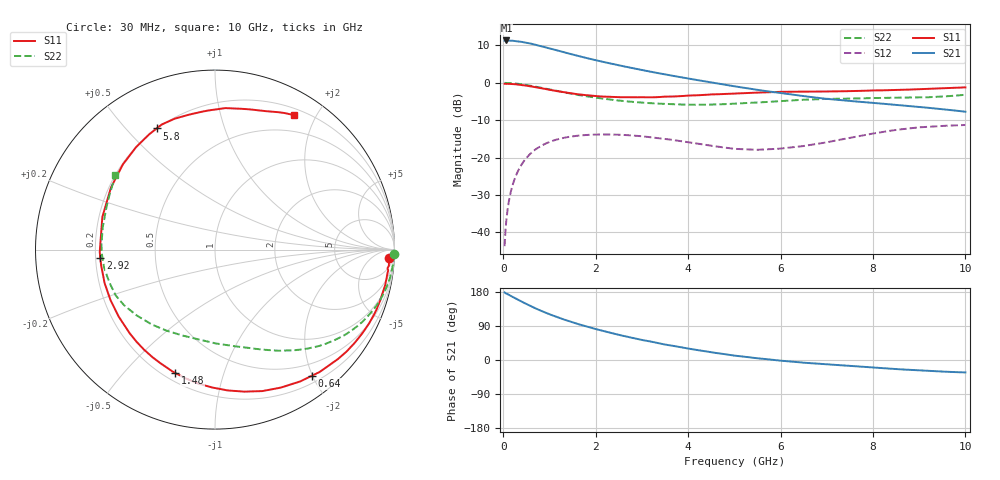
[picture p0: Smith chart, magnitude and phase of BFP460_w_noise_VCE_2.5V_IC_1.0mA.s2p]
! (c) 2016  Infineon Technologies AG, Munich
! Infineon Technologies  Discrete & RF Semiconductors
! BFP460
! VCE =  2.5 V,  IC =  1.0 mA
! Common Emitter S-Parameters:  Jan 2016
# GHz  S  MA  R  50
!  f  S11  S21  S12  S22
! GHz  MAG  ANG  MAG  ANG  MAG  ANG  MAG  ANG
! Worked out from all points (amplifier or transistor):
!   229 points, 30 MHz to 10 GHz, reference 50 ohm
!   highest |S21| = 11.3 dB at 70 MHz (marker M1)
!   |S21| within 3 dB of that: start of sweep to 1.269 GHz
!   unconditionally stable (mu >= 1): 4.358 GHz to 7.988 GHz; 8.166663 GHz to 8.205964 GHz
!   at 280 MHz: K = 0.07, MSG = 17.9 dB, |S12| = -24.7 dB
!   at 1.78 GHz: K = 0.41, MSG = 10.3 dB, |S12| = -14.0 dB
!   at 10 GHz: K = 0.97, MSG = 1.8 dB, |S12| = -11.3 dB
!   lowest NFmin = 0.69 dB at 450 MHz
!   S11 on the Smith chart (normalised r, x): 30 MHz: 20, -32; 640 MHz: 0.30, -1.99; 1.48 GHz: 0.24, -0.70; 2.92 GHz: 0.22, -0.03; 5.8 GHz: 0.20, +0.61; 10 GHz: 0.28, +1.72
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0.03  0.9718 -2.6  3.684 178.4  0.0065 86.9  0.9978 -1.5
0.07  0.9667 -6.2  3.692 174.9  0.015 86.3  0.9965 -3.3
0.15  0.9666 -12.9  3.666 170.0  0.0318 81.6  0.9914 -7.0
0.26  0.9575 -22.1  3.629 163.0  0.0543 75.5  0.9797 -12.0
0.45  0.9273 -37.8  3.491 150.9  0.09 65.5  0.9472 -20.3
0.64  0.8862 -52.5  3.299 139.7  0.12 56.2  0.9037 -27.7
0.8  0.8519 -64.5  3.124 130.8  0.1411 49.3  0.8644 -33.5
1  0.8081 -78.3  2.903 120.8  0.1618 41.4  0.8146 -39.8
1.2  0.7683 -91.2  2.685 111.6  0.1771 34.4  0.7689 -45.3
1.48  0.722 -107.9  2.412 100.1  0.1912 26.0  0.712 -52.0
1.7  0.6936 -120.0  2.227 91.9  0.1984 20.3  0.6755 -56.5
2  0.6659 -135.5  2.012 81.7  0.203 13.6  0.6326 -62.2
2.24  0.651 -147.0  1.86 74.2  0.2036 8.9  0.6046 -66.5
2.6  0.6428 -163.1  1.667 63.6  0.2008 2.6  0.5699 -73.0
2.92  0.6403 -175.8  1.52 55.1  0.1945 -2.0  0.5479 -78.9
3.4  0.6464 167.3  1.331 43.5  0.1806 -7.3  0.5254 -87.9
4.1  0.6775 146.7  1.116 28.2  0.1569 -10.7  0.5085 -101.8
5.1  0.7234 126.0  0.879 10.3  0.1298 -4.5  0.5292 -122.8
5.8  0.7493 115.7  0.758 0.9  0.1295 5.2  0.5587 -136.2
6.8  0.7636 103.4  0.631 -9.6  0.1527 15.8  0.6022 -152.6
8.4  0.7987 79.1  0.513 -23.1  0.2295 14.2  0.6314 -178.3
10  0.8693 59.5  0.41 -32.9  0.2725 1.0  0.6924 143.3
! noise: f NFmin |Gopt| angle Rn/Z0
0.45  0.69  0.73  19  0.45
0.9  0.78  0.68  41  0.42
1.9  1.48  0.47  96  0.28
3.5  2.5  0.41  -173  0.14
